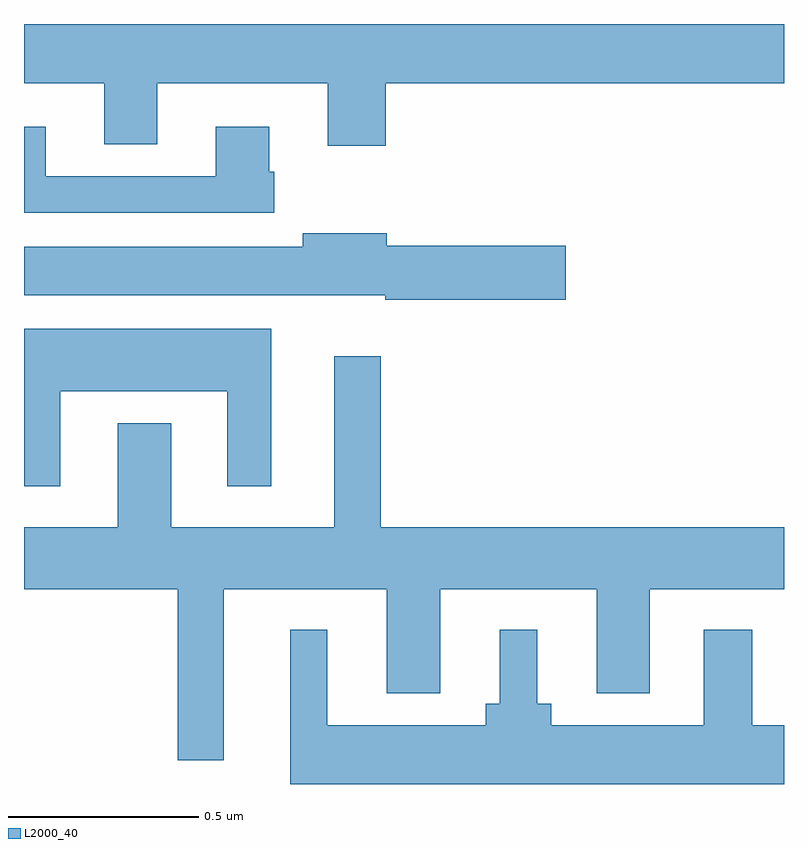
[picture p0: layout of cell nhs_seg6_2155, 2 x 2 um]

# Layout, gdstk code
import gdstk
lib = gdstk.Library(unit=1e-6, precision=1e-09)
def P(c, l, *ps):  # polygons
    for p in ps: c.add(gdstk.Polygon(p, *l))
L2000_40 = (2000, 40)

nhs_seg6_2155 = lib.new_cell('nhs_seg6_2155')
P(nhs_seg6_2155, L2000_40, [(139.952,939.344),(141,939.344),(141,939.5),(139,939.5),(139,939.344),(139.211,939.344),(139.211,939.184),(139.351,939.184),(139.351,939.344),(139.799,939.344),(139.799,939.18),(139.952,939.18)],
  [(139.658,939.111),(139.645,939.111),(139.645,939.229),(139.505,939.229),(139.505,939.099),(139.057,939.099),(139.057,939.229),(139,939.229),(139,939.003),(139.658,939.003)],
  [(140.425,938.916),(139.954,938.916),(139.954,938.95),(139.733,938.95),(139.733,938.914),(139,938.914),(139,938.786),(139.95,938.786),(139.95,938.774),(140.425,938.774)],
  [(139.096,938.534),(139.535,938.534),(139.535,938.283),(139.651,938.283),(139.651,938.698),(139,938.698),(139,938.283),(139.096,938.283)],
  [(139.525,938.012),(139.955,938.012),(139.955,937.739),(140.095,937.739),(140.095,938.012),(140.507,938.012),(140.507,937.739),(140.647,937.739),(140.647,938.012),(141,938.012),(141,938.176),(139.939,938.176),(139.939,938.626),(139.817,938.626),(139.817,938.176),(139.387,938.176),(139.387,938.449),(139.247,938.449),(139.247,938.176),(139,938.176),(139,938.012),(139.404,938.012),(139.404,937.563),(139.525,937.563)],
  [(141,937.654),(140.917,937.654),(140.917,937.906),(140.789,937.906),(140.789,937.654),(140.388,937.654),(140.388,937.711),(140.35,937.711),(140.35,937.906),(140.252,937.906),(140.252,937.711),(140.215,937.711),(140.215,937.654),(139.798,937.654),(139.798,937.906),(139.7,937.906),(139.7,937.5),(141,937.5)])

lib.write_gds('nhs_seg6_2155.gds')
